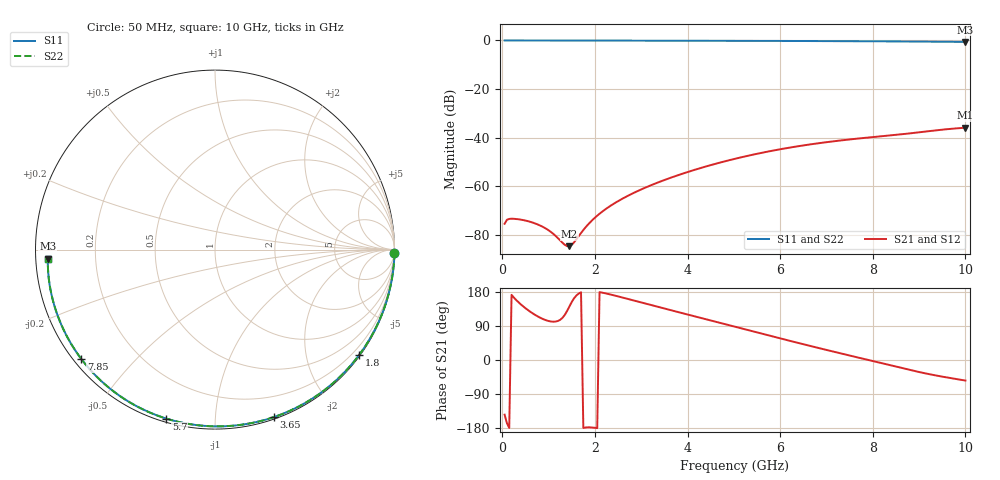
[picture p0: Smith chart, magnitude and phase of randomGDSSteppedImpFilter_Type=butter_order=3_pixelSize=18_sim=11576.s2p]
! freq	dB(S11)	phase(S11)	dB(S12)	phase(S12)
!  dB(S21)	phase(S21)	dB(S22)	phase(S22)
!S-par simulation data
#  GHz  S  DB  R 50
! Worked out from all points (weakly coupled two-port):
!   200 points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, 50 MHz to 10 GHz, reference 50 ohm
!   highest |S21| = -35.93 dB at 10 GHz (marker M1); lowest = -84.7 dB at 1.45 GHz (marker M2)
!   lowest |S11| = -0.6 dB at 10 GHz (marker M3), VSWR 28.69, Z = 1.74 - j1.35 ohm
!   |S11| at or under -10 dB: nowhere
!   |S22| runs from -0.6 to 0.0 dB; largest |S21 - S12| = 0
!   S11 on the Smith chart (normalised r, x): 50 MHz: open; 1.8 GHz: 0.03, -3.08; 3.65 GHz: 0.02, -1.41; 5.7 GHz: 0.02, -0.75; 7.85 GHz: 0.02, -0.36; 10 GHz: 0.03, -0.03
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0.05  -0.00 -1.0  -75.49 -144.3  -75.49 -144.3  -0.00 -1.0
0.1  -0.00 -2.0  -73.84 -166.8  -73.84 -166.8  -0.00 -2.0
0.15  -0.00 -3.1  -73.49 -179.2  -73.49 -179.2  -0.00 -3.1
0.4  -0.01 -8.1  -73.78 146.8  -73.78 146.8  -0.01 -8.1
0.8  -0.02 -16.2  -76.06 112.7  -76.06 112.7  -0.02 -16.2
1.15  -0.03 -23.2  -80.45 101.4  -80.45 101.4  -0.03 -23.2
1.45  -0.04 -29.1  -84.71 141.5  -84.71 141.5  -0.04 -29.1
1.65  -0.04 -33.1  -80.57 175.3  -80.57 175.3  -0.04 -33.1
1.75  -0.04 -35.0  -78.05 -179.2  -78.05 -179.2  -0.04 -35.0
1.8  -0.05 -36.0  -76.90 -178.1  -76.90 -178.1  -0.05 -36.0
2.05  -0.05 -40.8  -72.14 -179.7  -72.14 -179.7  -0.05 -40.8
2.4  -0.06 -47.6  -67.31 170.9  -67.31 170.9  -0.06 -47.6
2.85  -0.07 -56.1  -62.66 156.7  -62.66 156.7  -0.07 -56.1
3.4  -0.09 -66.2  -58.19 139.1  -58.19 139.1  -0.09 -66.2
3.65  -0.10 -70.7  -56.44 131.1  -56.44 131.1  -0.10 -70.7
5.05  -0.15 -95.2  -48.61 87.0  -48.61 87.0  -0.15 -95.2
5.7  -0.18 -106.0  -45.89 66.5  -45.89 66.5  -0.18 -106.0
6.7  -0.24 -122.3  -42.66 35.6  -42.66 35.6  -0.24 -122.3
7.85  -0.33 -140.8  -40.07 1.6  -40.07 1.6  -0.33 -140.8
8.35  -0.38 -148.8  -39.15 -13.0  -39.15 -13.0  -0.38 -148.8
9.2  -0.48 -162.8  -37.38 -36.9  -37.38 -36.9  -0.48 -162.8
10  -0.61 -176.9  -35.93 -54.2  -35.93 -54.2  -0.61 -176.9
